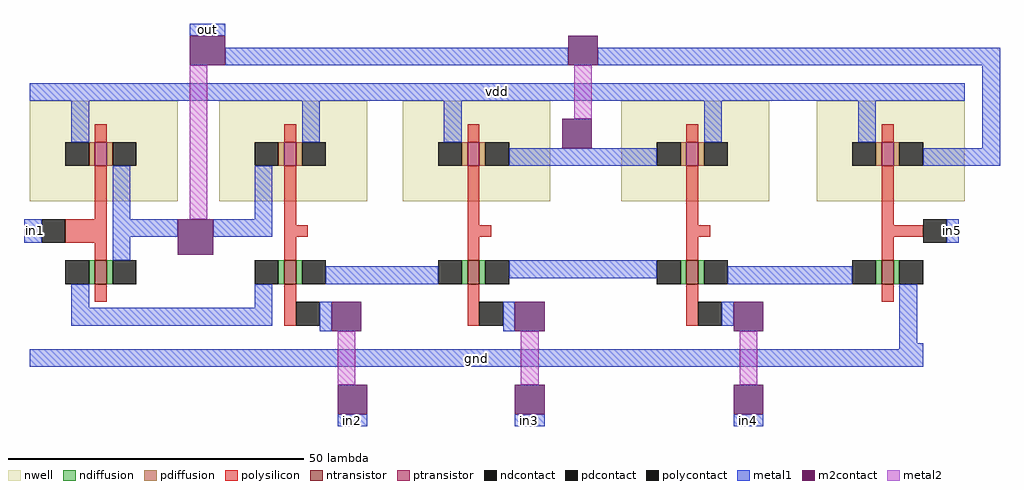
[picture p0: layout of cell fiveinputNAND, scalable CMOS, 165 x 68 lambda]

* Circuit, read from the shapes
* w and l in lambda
.subckt fiveinputNAND gnd in1 in2 in3 in4 in5 out vdd
M1 out in1 n1 VSUBS nfet w=4 l=2
M2 n2 in2 n1 VSUBS nfet w=4 l=2
M3 n3 in3 n2 VSUBS nfet w=4 l=2
M4 n4 in4 n3 VSUBS nfet w=4 l=2
M5 gnd in5 n4 VSUBS nfet w=4 l=2
M6 out in1 vdd n5 pfet w=4 l=2
M7 vdd in2 out n6 pfet w=4 l=2
M8 out in3 vdd n7 pfet w=4 l=2
M9 vdd in4 out n8 pfet w=4 l=2
M10 out in5 vdd n9 pfet w=4 l=2
.ends

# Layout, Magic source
magic
tech scmos
<< nwell >>
rect 0 0 25 17
rect 32 0 57 17
rect 63 0 88 17
rect 100 0 125 17
rect 133 0 158 17
<< ntransistor >>
rect 11 -14 13 -10
rect 43 -14 45 -10
rect 74 -14 76 -10
rect 111 -14 113 -10
rect 144 -14 146 -10
<< ptransistor >>
rect 11 6 13 10
rect 43 6 45 10
rect 74 6 76 10
rect 111 6 113 10
rect 144 6 146 10
<< ndiffusion >>
rect 10 -14 11 -10
rect 13 -14 14 -10
rect 42 -14 43 -10
rect 45 -14 46 -10
rect 73 -14 74 -10
rect 76 -14 77 -10
rect 110 -14 111 -10
rect 113 -14 114 -10
rect 143 -14 144 -10
rect 146 -14 147 -10
<< pdiffusion >>
rect 10 6 11 10
rect 13 6 14 10
rect 42 6 43 10
rect 45 6 46 10
rect 73 6 74 10
rect 76 6 77 10
rect 110 6 111 10
rect 113 6 114 10
rect 143 6 144 10
rect 146 6 147 10
<< ndcontact >>
rect 6 -14 10 -10
rect 14 -14 18 -10
rect 38 -14 42 -10
rect 46 -14 50 -10
rect 69 -14 73 -10
rect 77 -14 81 -10
rect 106 -14 110 -10
rect 114 -14 118 -10
rect 139 -14 143 -10
rect 147 -14 151 -10
<< pdcontact >>
rect 6 6 10 10
rect 14 6 18 10
rect 38 6 42 10
rect 46 6 50 10
rect 69 6 73 10
rect 77 6 81 10
rect 106 6 110 10
rect 114 6 118 10
rect 139 6 143 10
rect 147 6 151 10
<< polysilicon >>
rect 11 10 13 13
rect 43 10 45 13
rect 74 10 76 13
rect 111 10 113 13
rect 144 10 146 13
rect 11 -3 13 6
rect 6 -7 13 -3
rect 11 -10 13 -7
rect 43 -4 45 6
rect 74 -4 76 6
rect 111 -4 113 6
rect 144 -4 146 6
rect 43 -6 47 -4
rect 74 -6 78 -4
rect 111 -6 115 -4
rect 144 -6 151 -4
rect 43 -10 45 -6
rect 74 -10 76 -6
rect 111 -10 113 -6
rect 144 -10 146 -6
rect 11 -17 13 -14
rect 43 -21 45 -14
rect 74 -21 76 -14
rect 111 -21 113 -14
rect 144 -17 146 -14
<< polycontact >>
rect 2 -7 6 -3
rect 151 -7 155 -3
rect 45 -21 49 -17
rect 76 -21 80 -17
rect 113 -21 117 -17
<< metal1 >>
rect 27 28 33 30
rect 33 23 91 26
rect 96 23 164 26
rect 0 17 158 20
rect 7 10 10 17
rect 46 10 49 17
rect 70 10 73 17
rect 114 10 117 17
rect 140 10 143 17
rect 81 6 106 9
rect 161 9 164 23
rect 151 6 164 9
rect 14 -3 17 6
rect 38 -3 41 6
rect -1 -7 2 -3
rect 14 -6 25 -3
rect 14 -10 17 -6
rect 31 -6 41 -3
rect 155 -7 157 -3
rect 50 -14 69 -11
rect 81 -13 106 -10
rect 118 -14 139 -11
rect 7 -18 10 -14
rect 38 -18 41 -14
rect 7 -21 41 -18
rect 49 -22 51 -17
rect 80 -22 82 -17
rect 117 -21 119 -17
rect 147 -24 150 -14
rect 147 -25 151 -24
rect 0 -28 151 -25
rect 52 -38 57 -36
rect 82 -38 87 -36
rect 119 -38 124 -36
<< m2contact >>
rect 27 23 33 28
rect 91 23 96 28
rect 90 9 95 14
rect 25 -9 31 -3
rect 51 -22 56 -17
rect 82 -22 87 -17
rect 119 -22 124 -17
rect 52 -36 57 -31
rect 82 -36 87 -31
rect 119 -36 124 -31
<< metal2 >>
rect 27 -3 30 23
rect 92 14 95 23
rect 52 -31 55 -22
rect 83 -31 86 -22
rect 120 -31 123 -22
<< labels >>
rlabel metal1 0 -7 2 -3 3 in1
rlabel metal1 155 -7 157 -3 7 in5
rlabel metal1 0 -28 151 -25 1 gnd
rlabel metal1 52 -38 57 -36 1 in2
rlabel metal1 82 -38 87 -36 1 in3
rlabel metal1 119 -38 124 -36 1 in4
rlabel metal1 27 28 33 30 5 out
rlabel metal1 0 17 158 20 1 vdd
<< end >>
